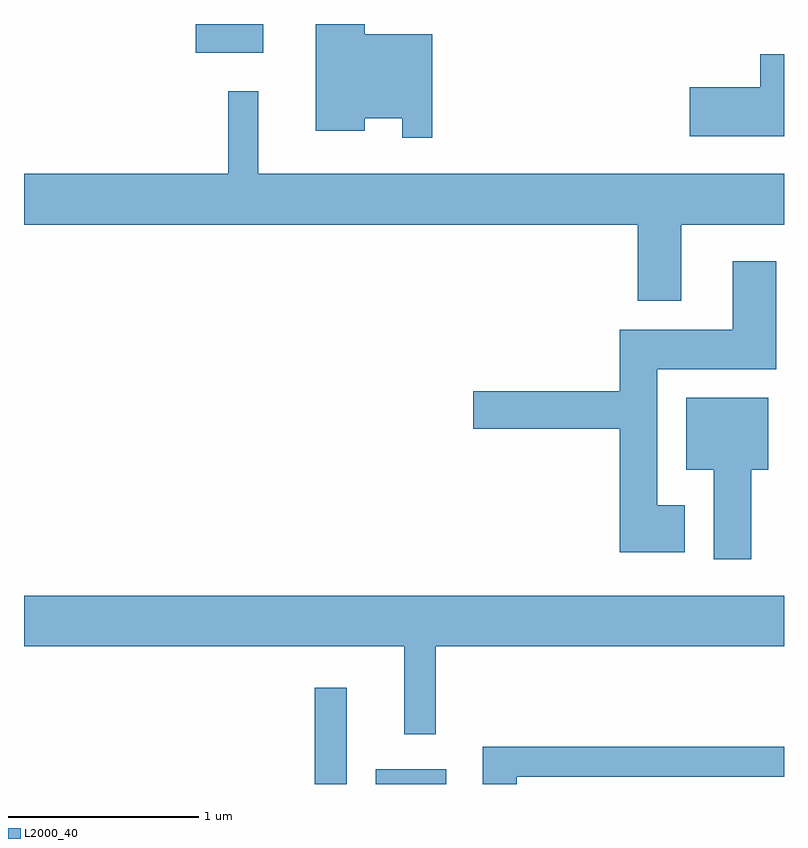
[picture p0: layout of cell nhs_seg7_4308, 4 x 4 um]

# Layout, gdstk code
import gdstk
lib = gdstk.Library(unit=1e-6, precision=1e-09)
def R(c, l, rs):  # rectangles x0, y0, x1, y1
    for r in rs: c.add(gdstk.rectangle(r[:2], r[2:], *l))
def P(c, l, *ps):  # polygons
    for p in ps: c.add(gdstk.Polygon(p, *l))
L2000_40 = (2000, 40)

nhs_seg7_4308 = lib.new_cell('nhs_seg7_4308')
R(nhs_seg7_4308, L2000_40, [(319.141,1720.252,319.309,1720.758), (319.461,1720.252,319.834,1720.329), (318.516,1724.101,318.869,1724.252)])
P(nhs_seg7_4308, L2000_40, [(319.759,1724.199),(319.404,1724.199),(319.404,1724.252),(319.146,1724.252),(319.146,1723.691),(319.404,1723.691),(319.404,1723.756),(319.601,1723.756),(319.601,1723.653),(319.759,1723.653)],
  [(321.611,1724.094),(321.486,1724.094),(321.486,1723.919),(321.116,1723.919),(321.116,1723.661),(321.611,1723.661)],
  [(321.069,1723.196),(321.611,1723.196),(321.611,1723.464),(318.844,1723.464),(318.844,1723.898),(318.686,1723.898),(318.686,1723.464),(317.611,1723.464),(317.611,1723.196),(320.841,1723.196),(320.841,1722.796),(321.069,1722.796)],
  [(321.089,1721.719),(320.944,1721.719),(320.944,1722.436),(321.569,1722.436),(321.569,1723.004),(321.341,1723.004),(321.341,1722.644),(320.746,1722.644),(320.746,1722.319),(319.976,1722.319),(319.976,1722.121),(320.746,1722.121),(320.746,1721.471),(321.089,1721.471)],
  [(321.439,1721.906),(321.529,1721.906),(321.529,1722.284),(321.096,1722.284),(321.096,1721.906),(321.241,1721.906),(321.241,1721.436),(321.439,1721.436)],
  [(319.779,1720.976),(321.611,1720.976),(321.611,1721.244),(317.611,1721.244),(317.611,1720.976),(319.611,1720.976),(319.611,1720.513),(319.779,1720.513)],
  [(320.204,1720.291),(321.611,1720.291),(321.611,1720.449),(320.026,1720.449),(320.026,1720.252),(320.204,1720.252)])

lib.write_gds('nhs_seg7_4308.gds')
